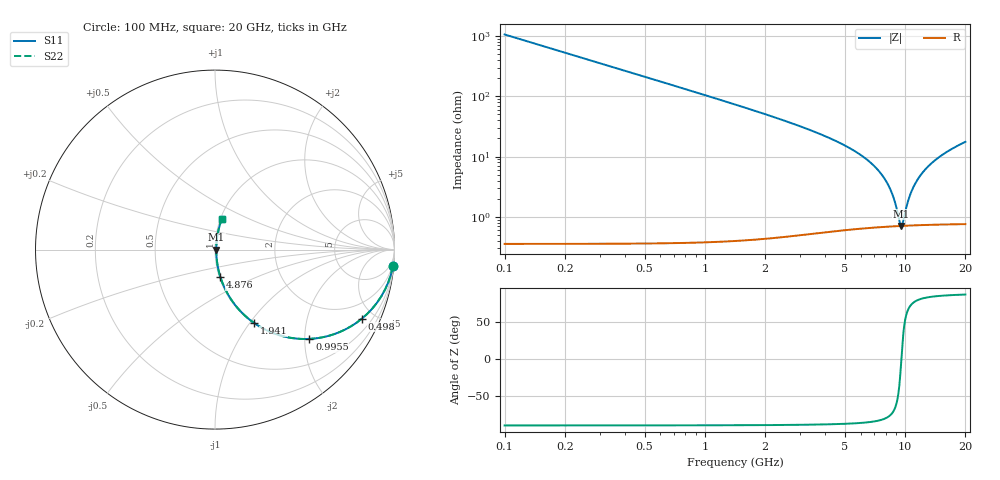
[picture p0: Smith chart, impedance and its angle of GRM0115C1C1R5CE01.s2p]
!Murata Part Number: GRM0115C1C1R5CE01
!These Parameters are Measured in Series Mode Connection
!Data Generated on Mar 30, 2021
!  o--ll--o
!Port1  Port2
!  o------o
!Operation Temp=25[degC], DC Bias Voltage=0[V]
!Freq. Start=100[MHz] Stop=20[GHz] 401[Steps]
# Hz S RI R 50
!Freq.(Hz) S11(Real) S11(Imag) S21(Real) S21(Imag) S12(Real) S12(Imag) S22(Real) S22(Imag)
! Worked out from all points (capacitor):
!   401 points, 100 MHz to 20 GHz, reference 50 ohm
!   read as one part in series: C = 1.5 pF near 199.5 MHz
!   lowest |Z| = 712 mohm at 9.553 GHz (marker M1)
!   series resonance near 9.578 GHz, so ESL is about 180 pH
!   S11 on the Smith chart (normalised r, x): 100 MHz: 1, -21; 498 MHz: 1.01, -4.25; 995.5 MHz: 1.01, -2.11; 1.941 GHz: 1.01, -1.05; 4.876 GHz: 1.01, -0.32; 20 GHz: 1.02, +0.35
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1e8  0.9912 -0.0934  0.00884 0.0934  0.00884 0.0934  0.9912 -0.0934
2.99e8  0.9261 -0.2612  0.0739 0.2612  0.0739 0.2612  0.9261 -0.2612
4.98e8  0.8182 -0.3848  0.1818 0.3848  0.1818 0.3848  0.8182 -0.3848
9.955e8  0.526 -0.4975  0.474 0.4975  0.474 0.4975  0.526 -0.4975
1.44325e9  0.3406 -0.4711  0.6594 0.4711  0.6594 0.4711  0.3406 -0.4711
1.94075e9  0.2167 -0.4079  0.7833 0.4079  0.7833 0.4079  0.2167 -0.4079
3.43325e9  0.0712 -0.2475  0.9288 0.2475  0.9288 0.2475  0.0712 -0.2475
4.876e9  0.0304 -0.1541  0.9696 0.1541  0.9696 0.1541  0.0304 -0.1541
6.7665e9  0.0124 -0.0763  0.9876 0.0763  0.9876 0.0763  0.0124 -0.0763
7.662e9  0.00913 -0.0485  0.9909 0.0485  0.9909 0.0485  0.00913 -0.0485
8.3585e9  0.00776 -0.0295  0.9922 0.0295  0.9922 0.0295  0.00776 -0.0295
8.80625e9  0.00728 -0.0182  0.9927 0.0182  0.9927 0.0182  0.00728 -0.0182
9.40325e9  0.00704 -0.00397  0.993 0.00397  0.993 0.00397  0.00704 -0.00397
9.5525e9  0.00705 -0.000566  0.993 0.000566  0.993 0.000566  0.00705 -0.000566
9.70175e9  0.00707 0.00278  0.9929 -0.00278  0.9929 -0.00278  0.00707 0.00278
1.005e10  0.00721 0.0104  0.9928 -0.0104  0.9928 -0.0104  0.00721 0.0104
1.05475e10  0.00759 0.0208  0.9924 -0.0208  0.9924 -0.0208  0.00759 0.0208
1.1244e10  0.00843 0.0347  0.9916 -0.0347  0.9916 -0.0347  0.00843 0.0347
1.218925e10  0.01 0.0523  0.99 -0.0523  0.99 -0.0523  0.01 0.0523
1.338325e10  0.0128 0.0731  0.9872 -0.0731  0.9872 -0.0731  0.0128 0.0731
1.67165e10  0.0233 0.1242  0.9767 -0.1242  0.9767 -0.1242  0.0233 0.1242
2e10  0.0369 0.1681  0.9631 -0.1681  0.9631 -0.1681  0.0369 0.1681
